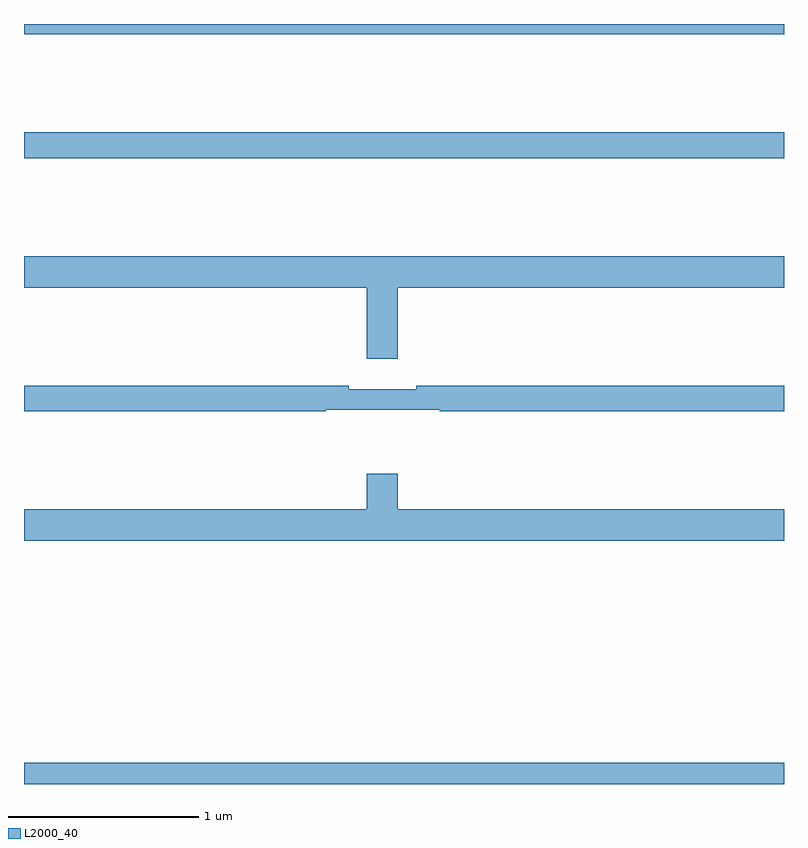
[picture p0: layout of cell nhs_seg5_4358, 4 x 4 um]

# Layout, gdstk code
import gdstk
lib = gdstk.Library(unit=1e-6, precision=1e-09)
def R(c, l, rs):  # rectangles x0, y0, x1, y1
    for r in rs: c.add(gdstk.rectangle(r[:2], r[2:], *l))
def P(c, l, *ps):  # polygons
    for p in ps: c.add(gdstk.Polygon(p, *l))
L2000_40 = (2000, 40)

nhs_seg5_4358 = lib.new_cell('nhs_seg5_4358')
R(nhs_seg5_4358, L2000_40, [(367,868.799,371,868.912), (367,872.092,371,872.228), (367,872.744,371,872.799)])
P(nhs_seg5_4358, L2000_40, [(368.968,871.412),(371,871.412),(371,871.576),(367,871.576),(367,871.412),(368.804,871.412),(368.804,871.038),(368.968,871.038)],
  [(368.588,870.768),(369.188,870.768),(369.188,870.76),(371,870.76),(371,870.896),(369.064,870.896),(369.064,870.877),(368.708,870.877),(368.708,870.896),(367,870.896),(367,870.76),(368.588,870.76)],
  [(371,870.244),(368.968,870.244),(368.968,870.433),(368.804,870.433),(368.804,870.244),(367,870.244),(367,870.08),(371,870.08)])

lib.write_gds('nhs_seg5_4358.gds')
